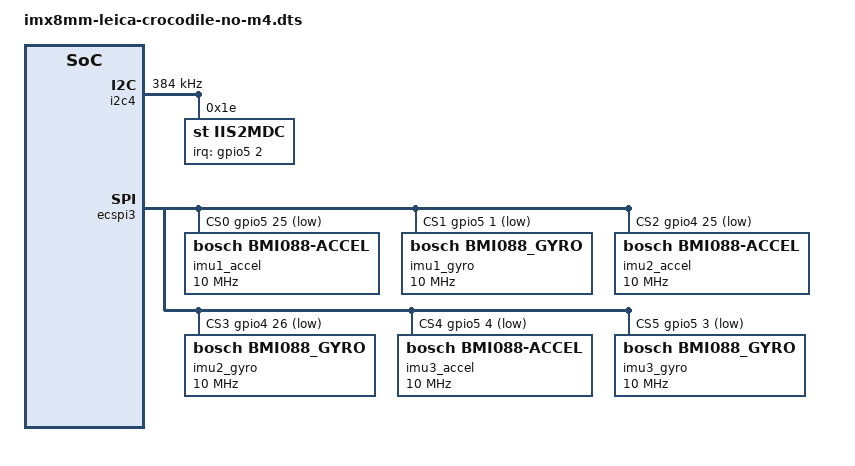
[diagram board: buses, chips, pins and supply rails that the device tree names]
// SPDX-License-Identifier: (GPL-2.0+ OR MIT)
/*
 * Copyright (C) 2021 Leica Geosystems AG
 */

#include <dt-bindings/gpio/gpio.h>
#include <dt-bindings/interrupt-controller/irq.h>

/dts-v1/;
/plugin/;

&i2c4 {
	clock-frequency = <384000>;
	pinctrl-names = "default";
	pinctrl-0 = <&pinctrl_i2c4>;
	status = "okay";

	iis2mdc@1e {
		compatible = "st,iis2mdc";
		reg = <0x1e>;
		pinctrl-names = "default";
		pinctrl-0 = <&pinctrl_iis2mdc>;
		interrupt-parent = <&gpio5>;
		interrupts = <2 IRQ_TYPE_EDGE_RISING>;
		st,drdy-int-pin = <1>;
	};
};

&ecspi3 {
	fsl,spi-num-chipselects = <6>;
	cs-gpios =
		   <&gpio5 25 GPIO_ACTIVE_LOW>,
		   <&gpio5 1 GPIO_ACTIVE_LOW>,
		   <&gpio4 25 GPIO_ACTIVE_LOW>,
		   <&gpio4 26 GPIO_ACTIVE_LOW>,
		   <&gpio5 4 GPIO_ACTIVE_LOW>,
		   <&gpio5 3 GPIO_ACTIVE_LOW>;
	pinctrl-names = "default";
	pinctrl-0 = <&pinctrl_ecspi3>;
	status = "okay";

	imu1_accel:bmg088@0 {
		compatible = "bosch,bmi088-accel";
		spi-max-frequency = <10000000>;
		reg = <0>;
	};

	imu1_gyro:bmg088@1 {
		compatible = "bosch,bmi088_gyro";
		spi-max-frequency = <10000000>;
		reg = <1>;
	};

	imu2_accel:bmg088@2 {
		compatible = "bosch,bmi088-accel";
		spi-max-frequency = <10000000>;
		reg = <2>;
	};

	imu2_gyro:bmg088@3 {
		compatible = "bosch,bmi088_gyro";
		spi-max-frequency = <10000000>;
		reg = <3>;
	};

	imu3_accel:bmg088@4 {
		compatible = "bosch,bmi088-accel";
		spi-max-frequency = <10000000>;
		reg = <4>;
	};

	imu3_gyro:bmg088@5 {
		compatible = "bosch,bmi088_gyro";
		spi-max-frequency = <10000000>;
		reg = <5>;
	};
};

&gpio4 {
	status = "okay";
	gpio-line-names =
		"DBG_ENET_WOL",
		"DBG_ENET_INT",
		"", "", "", "", "",
		"", "", "", "",
		"DBG_GPIO1",
		"", "", "", "", "",
		"", "", "", "", "",
		"", "", "", "", "",
		"GNSS_PPS",
		"IMU_3_INT";
};

&gpio5 {
	status = "okay";
	gpio-line-names =
		"", "",
		"MAG_DRDY",
		"", "",
		"IMU_LT_OUT",
		"", "", "", "", "",
		"", "", "", "", "",
		"", "",
		"IMU_1_INT",
		"IMU_2_INT";
};

&iomuxc {
	pinctrl-0 = <&pinctrl_gpio>, <&pinctrl_gpio_m4>;

	pinctrl_i2c4: i2c4grp {
		fsl,pins = <
			MX8MM_IOMUXC_I2C4_SCL_I2C4_SCL	0x400001c3	/*CROCODILE_IMX8_I2C_4_SCL*/
			MX8MM_IOMUXC_I2C4_SDA_I2C4_SDA	0x400001c3	/*CROCODILE_IMX8_I2C_4_SDA*/
		>;
	};

	pinctrl_iis2mdc: iis2mdcgrp {
		fsl,pins = <
			MX8MM_IOMUXC_SAI3_MCLK_GPIO5_IO2		0x40	/*CROCODILE_MAG_DRDY*/
		>;
	};

	pinctrl_ecspi3: ecspi3grp {
		fsl,pins = <
			MX8MM_IOMUXC_UART1_TXD_ECSPI3_MOSI	0x0	/*CROCODILE_IMX8_ECSPI3_MOSI*/
			MX8MM_IOMUXC_UART2_RXD_ECSPI3_MISO	0x0	/*CROCODILE_IMX8_ECSPI3_MISO*/
			MX8MM_IOMUXC_UART1_RXD_ECSPI3_SCLK	0x0	/*CROCODILE_IMX8_ECSPI3_SCLK*/
			MX8MM_IOMUXC_UART2_TXD_GPIO5_IO25		0x0	/*CROCODILE_IMU_1_CS_ACC*/
			MX8MM_IOMUXC_SAI3_TXD_GPIO5_IO1		0x0	/*CROCODILE_IMU_1_CS_GYRO*/
			MX8MM_IOMUXC_SAI2_TXC_GPIO4_IO25		0x0	/*CROCODILE_IMU_2_CS_ACC*/
			MX8MM_IOMUXC_SAI2_TXD0_GPIO4_IO26		0x0	/*CROCODILE_IMU_2_CS_GYRO*/
			MX8MM_IOMUXC_SPDIF_RX_GPIO5_IO4		0x0	/*CROCODILE_IMU_3_CS_ACC*/
			MX8MM_IOMUXC_SPDIF_TX_GPIO5_IO3		0x0	/*CROCODILE_IMU_3_CS_GYRO*/
		>;
	};

	pinctrl_gpio_m4: gpio_m4grp {
		fsl,pins = <
			MX8MM_IOMUXC_SPDIF_EXT_CLK_GPIO5_IO5		0x00	/*CROCODILE_IMU_LT_OUT*/
			MX8MM_IOMUXC_I2C3_SCL_GPIO5_IO18		0x140	/*CROCODILE_IMU_1_INT*/
			MX8MM_IOMUXC_I2C3_SDA_GPIO5_IO19		0x140	/*CROCODILE_IMU_2_INT*/
			MX8MM_IOMUXC_SAI3_RXFS_GPIO4_IO28		0x140	/*CROCODILE_IMU_3_INT*/
			MX8MM_IOMUXC_SAI2_MCLK_GPIO4_IO27		0x100	/*CROCODILE_GNSS_PPS*/
			MX8MM_IOMUXC_SAI1_TXC_GPIO4_IO11		0x00	/*CROCODILE_DBG_GPIO1*/
			MX8MM_IOMUXC_SAI1_RXC_GPIO4_IO1		0x00	/*CROCODILE_DBG_ENET_INT*/
			MX8MM_IOMUXC_SAI1_RXFS_GPIO4_IO0		0x00	/*CROCODILE_DBG_ENET_WOL*/
		>;
	};
};
